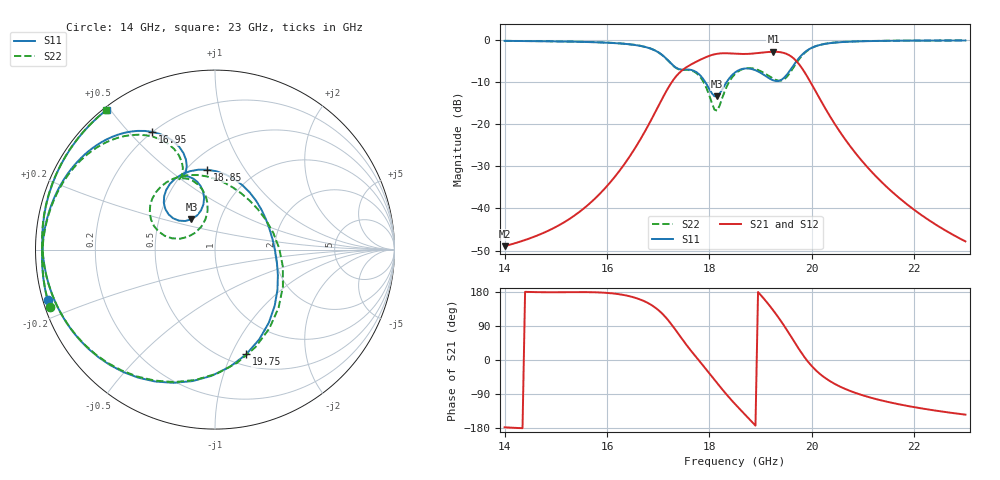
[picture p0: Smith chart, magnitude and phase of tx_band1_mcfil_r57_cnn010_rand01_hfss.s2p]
! Touchstone file exported from HFSS 3D Layout Design 2026.1.0
!  File:  D:/Work/SIM/ADS_AUTO_SIM/projects/RFSOC_RF/TX_Fillter.aedt
!  Generated:  05:57:18 AM Aug 31, 2026
!  Design:  TX_BAND1_MCFIL_R57_CNN010
!  Project:  TX_Fillter
# GHz S MA R 50.000000
! Terminal data exported
! Port[1] = Port1
! Port[2] = Port2
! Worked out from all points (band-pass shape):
!   181 points, 14 GHz to 23 GHz, reference 50 ohm
!   highest |S21| = -2.81 dB at 19.25 GHz (marker M1); lowest = -49.0 dB at 14 GHz (marker M2)
!   |S21| within 3 dB of the highest: 17.64 GHz to 19.75 GHz (2.109 GHz wide, 11.3 % of centre)
!   lowest |S11| = -13.4 dB at 18.15 GHz (marker M3), VSWR 1.54, Z = 36.4 + j12.9 ohm
!   |S11| at or under -10 dB: 17.92 GHz to 18.34 GHz (419.1 MHz wide, 2.31 % of centre)
!   |S22| runs from -16.8 to -0.1 dB; largest |S21 - S12| = 1.3e-14
!   S11 on the Smith chart (normalised r, x): 14 GHz: 0.01, -0.15; 16.95 GHz: 0.20, +0.58; 18.85 GHz: 0.62, +0.69; 19.75 GHz: 0.61, -1.14; 23 GHz: 0.01, +0.49
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14  0.9738 -163.2  0.003563 -177.6  0.003563 -177.6  0.9747 -160.7
15.5  0.9485 167.2  0.009478 179.2  0.009478 179.2  0.9501 170.1
16.35  0.898 143.7  0.03424 170.9  0.03424 170.9  0.9 146.8
16.95  0.7426 118.0  0.1417 137.4  0.1417 137.4  0.7434 121.1
17  0.714 115.5  0.1622 132.1  0.1622 132.1  0.7144 118.5
17.25  0.5261 107.9  0.3054 95.6  0.3054 95.6  0.5238 110.7
17.5  0.4441 114.5  0.4512 49.1  0.4512 49.1  0.4396 117.0
17.85  0.3622 102.7  0.593 -10.3  0.593 -10.3  0.3435 102.0
18.15  0.2141 127.9  0.6843 -60.7  0.6843 -60.7  0.1445 139.4
18.3  0.291 143.2  0.695 -85.5  0.695 -85.5  0.2469 165.3
18.5  0.4106 133.6  0.6861 -116.1  0.6861 -116.1  0.3937 154.9
18.85  0.4472 95.5  0.6887 -165.8  0.6887 -165.8  0.4581 120.4
19.05  0.3899 66.9  0.7093 164.0  0.7093 164.0  0.4109 96.6
19.25  0.3305 31.0  0.7236 130.4  0.7236 130.4  0.346 65.1
19.5  0.3784 -22.2  0.6854 82.0  0.6854 82.0  0.358 1.1
19.65  0.5057 -53.6  0.6004 49.9  0.6004 49.9  0.4801 -42.4
19.75  0.6091 -73.4  0.5158 28.6  0.5158 28.6  0.5891 -67.7
20  0.8071 -114.4  0.2957 -16.1  0.2957 -16.1  0.8032 -114.6
20.25  0.8958 -141.9  0.1588 -46.3  0.1588 -46.3  0.8978 -143.5
20.5  0.9344 -160.4  0.08999 -66.8  0.08999 -66.8  0.9375 -162.2
21.5  0.9763 159.3  0.01716 -111.1  0.01716 -111.1  0.9777 158.5
23  0.9851 127.7  0.004063 -144.2  0.004063 -144.2  0.9853 127.9
